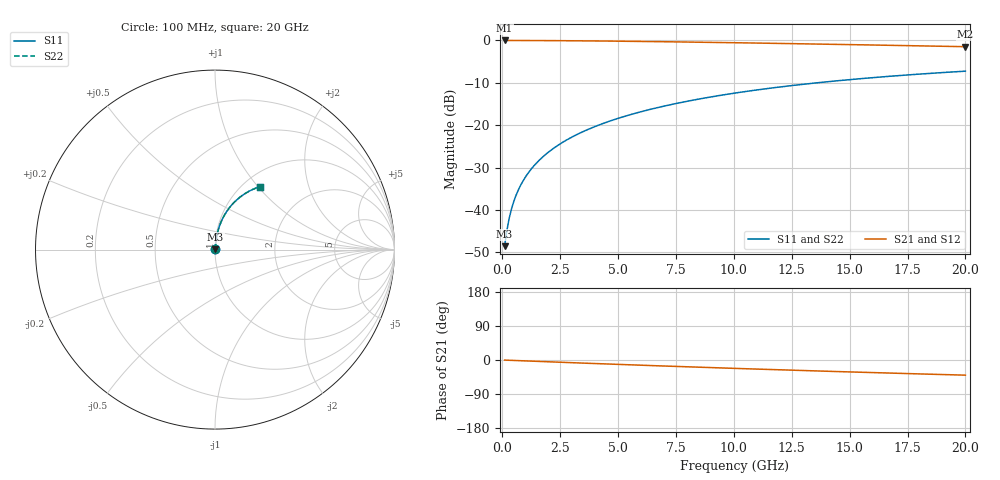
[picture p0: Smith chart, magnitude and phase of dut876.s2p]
! Touchstone file exported from HFSS 2024.1.0
!  File:  C:/UserFiles/LocalFiles/RDL_TSV_Batchsim/temp_RDL_bottom_876_1779865275.aedt
!  Generated:  03:03:57 PM May 27, 2026
!  Design:  RDL_bottom
!  Project:  temp_RDL_bottom_876_1779865275
!  Setup:  Setup1
!  Solution:  Sweep
! Variables:
!  dtsv = 10.80580581um
!  hbump = 3um
!  htsv = 53.89um
!  ldown = 525.42um
!  lrdl = 100um
!  p = 40
!  p1 = 53.11um
!  rhole = 1um
!  t = 450um
!  tdown = 4.47um
!  trdl = 3.915915916um
!  wdown = 15.58um
!  wrdl = 20um
# GHz S MA R 50.000000
! Terminal data exported
! Port[1] = RDL1_T1
! Port[2] = RDL1_T2
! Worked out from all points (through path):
!   200 points, 100 MHz to 20 GHz, reference 50 ohm
!   highest |S21| = -0.02 dB at 100 MHz (marker M1); lowest = -1.5 dB at 20 GHz (marker M2)
!   group delay of S21, straight-line fit = 5.53 ps
!   lowest |S11| = -48.5 dB at 100 MHz (marker M3), VSWR 1.01, Z = 50.3 + j0.253 ohm
!   |S11| at or under -10 dB: start of sweep to 13.6 GHz
!   |S22| runs from -48.5 to -7.3 dB; largest |S21 - S12| = 3.2e-15
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0.1  0.003749 42.1  0.9972 -0.2  0.9972 -0.2  0.003749 42.1
! Gamma 0 0 0 0
! Port Impedance 50 0 50 0
0.2  0.005768 60.2  0.9971 -0.5  0.9971 -0.5  0.005768 60.2
0.3  0.008037 68.2  0.997 -0.7  0.997 -0.7  0.008037 68.2
0.4  0.01037 72.5  0.9969 -1.0  0.9969 -1.0  0.01037 72.5
0.5  0.01271 75.2  0.9967 -1.2  0.9967 -1.2  0.01271 75.2
0.6  0.01506 77.0  0.9966 -1.4  0.9966 -1.4  0.01506 77.0
0.8  0.01977 79.3  0.9963 -1.9  0.9963 -1.9  0.01977 79.3
1.1  0.02686 81.2  0.9957 -2.6  0.9957 -2.6  0.02686 81.2
1.5  0.03637 82.3  0.9948 -3.6  0.9948 -3.6  0.03637 82.3
1.8  0.04352 82.7  0.994 -4.3  0.994 -4.3  0.04352 82.7
2.1  0.05069 82.8  0.993 -5.0  0.993 -5.0  0.05069 82.8
2.7  0.06507 82.6  0.9907 -6.4  0.9907 -6.4  0.06507 82.6
3.5  0.08428 82.0  0.9869 -8.2  0.9869 -8.2  0.08428 82.0
4.2  0.1011 81.1  0.983 -9.8  0.983 -9.8  0.1011 81.1
5  0.1203 80.1  0.978 -11.6  0.978 -11.6  0.1203 80.1
5.9  0.1419 78.7  0.9718 -13.6  0.9718 -13.6  0.1419 78.7
6.8  0.1634 77.3  0.965 -15.5  0.965 -15.5  0.1634 77.3
8.4  0.2012 74.5  0.9521 -18.8  0.9521 -18.8  0.2012 74.5
10.1  0.2403 71.5  0.9373 -22.2  0.9373 -22.2  0.2403 71.5
13.4  0.312 65.5  0.9067 -28.6  0.9067 -28.6  0.312 65.5
16.7  0.3766 59.7  0.8745 -34.5  0.8745 -34.5  0.3766 59.7
20  0.4333 54.2  0.842 -40.0  0.842 -40.0  0.4333 54.2
